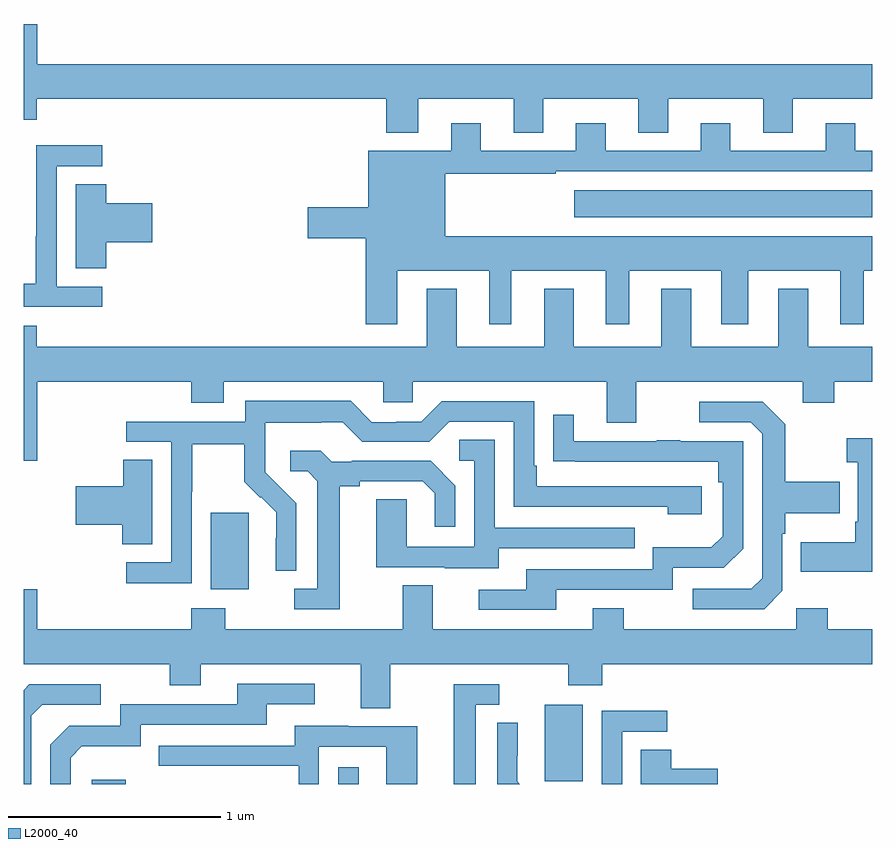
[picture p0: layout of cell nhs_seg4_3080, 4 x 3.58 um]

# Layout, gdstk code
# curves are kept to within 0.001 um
import gdstk
lib = gdstk.Library(unit=1e-6, precision=1e-09)
def R(c, l, rs):  # rectangles x0, y0, x1, y1
    for r in rs: c.add(gdstk.rectangle(r[:2], r[2:], *l))
def P(c, l, *ps):  # polygons
    for p in ps: c.add(gdstk.Polygon(p, *l))
L2000_40 = (2000, 40)

nhs_seg4_3080 = lib.new_cell('nhs_seg4_3080')
R(nhs_seg4_3080, L2000_40, [(273.321,818.9,273.482,818.92), (274.482,818.9,274.579,818.98), (275.456,818.913,275.635,819.274), (273.881,819.818,274.06,820.179), (275.595,821.57,277,821.698)])
P(nhs_seg4_3080, L2000_40, [(275.449,822.128),(275.897,822.128),(275.897,821.968),(276.037,821.968),(276.037,822.128),(276.485,822.128),(276.485,821.968),(276.625,821.968),(276.625,822.128),(277,822.128),(277,822.292),(273.064,822.292),(273.064,822.481),(273,822.481),(273,822.029),(273.062,822.029),(273.062,822.128),(274.709,822.128),(274.709,821.969),(274.861,821.969),(274.861,822.128),(275.309,822.128),(275.309,821.968),(275.449,821.968)],
  [(274.762,821.318),(275.195,821.318),(275.195,821.067),(275.299,821.067),(275.299,821.318),(275.744,821.318),(275.744,821.067),(275.854,821.067),(275.854,821.318),(276.287,821.318),(276.287,821.067),(276.415,821.067),(276.415,821.318),(276.848,821.318),(276.848,821.067),(276.958,821.067),(276.958,821.318),(277,821.318),(277,821.482),(274.987,821.482),(274.987,821.775),(275.507,821.775),(275.507,821.787),(277,821.787),(277,821.883),(276.919,821.883),(276.919,822.013),(276.779,822.013),(276.779,821.883),(276.331,821.883),(276.331,822.013),(276.191,822.013),(276.191,821.883),(275.743,821.883),(275.743,822.013),(275.603,822.013),(275.603,821.883),(275.155,821.883),(275.155,822.013),(275.015,822.013),(275.015,821.884),(274.625,821.884),(274.625,821.618),(274.338,821.618),(274.338,821.471),(274.613,821.471),(274.613,821.067),(274.762,821.067)],
  [(273.37,821.244),(273.156,821.244),(273.156,821.811),(273.37,821.811),(273.37,821.91),(273.06,821.91),(273.06,821.48),(273.058,821.48),(273.058,821.257),(273,821.257),(273,821.148),(273.37,821.148)],
  [(273.389,821.453),(273.607,821.453),(273.607,821.636),(273.389,821.636),(273.389,821.726),(273.245,821.726),(273.245,821.329),(273.389,821.329)],
  [(273.064,820.796),(273.791,820.796),(273.791,820.697),(273.943,820.697),(273.943,820.796),(274.695,820.796),(274.695,820.698),(274.833,820.698),(274.833,820.796),(275.747,820.796),(275.747,820.602),(275.887,820.602),(275.887,820.796),(276.671,820.796),(276.671,820.697),(276.819,820.697),(276.819,820.796),(277,820.796),(277,820.96),(276.697,820.96),(276.697,821.233),(276.557,821.233),(276.557,820.96),(276.145,820.96),(276.145,821.233),(276.005,821.233),(276.005,820.96),(275.593,820.96),(275.593,821.233),(275.453,821.233),(275.453,820.96),(275.041,820.96),(275.041,821.233),(274.901,821.233),(274.901,820.96),(273.062,820.96),(273.062,821.059),(273,821.059),(273,820.422),(273.064,820.422)],
  [(273.792,820.276),(273.795,820.276),(273.795,820.5),(274.039,820.5),(274.039,820.325),(274.116,820.248),(274.119,820.251),(274.19,820.181),(274.19,820.058),(274.188,820.058),(274.188,819.904),(274.284,819.904),(274.284,820.222),(274.138,820.37),(274.138,820.467),(274.14,820.467),(274.14,820.601),(274.403,820.601),(274.403,820.605),(274.503,820.605),(274.596,820.512),(274.911,820.512),(275.007,820.608),(275.31,820.608),(275.31,820.206),(276.035,820.206),(276.035,820.172),(276.196,820.172),(276.196,820.302),(275.419,820.302),(275.419,820.399),(275.406,820.399),(275.406,820.704),(274.971,820.704),(274.875,820.608),(274.757,820.608),(274.757,820.605),(274.641,820.605),(274.541,820.705),(274.044,820.705),(274.044,820.608),(273.483,820.608),(273.483,820.512),(273.696,820.512),(273.696,819.945),(273.483,819.945),(273.483,819.847),(273.792,819.847)],
  [(276.576,819.81),(276.576,820.079),(276.589,820.079),(276.589,820.175),(276.845,820.175),(276.845,820.323),(276.589,820.323),(276.589,820.595),(276.483,820.701),(276.183,820.701),(276.183,820.605),(276.426,820.605),(276.48,820.551),(276.48,819.87),(276.429,819.819),(276.153,819.819),(276.153,819.723),(276.489,819.723)],
  [(275.509,819.816),(276.06,819.816),(276.06,819.918),(276.3,819.918),(276.39,820.008),(276.39,820.515),(276.095,820.515),(276.095,820.52),(275.983,820.52),(275.983,820.515),(275.593,820.515),(275.593,820.639),(275.497,820.639),(275.497,820.42),(276.274,820.419),(276.274,820.322),(276.294,820.322),(276.294,820.068),(276.241,820.015),(275.964,820.015),(275.964,819.912),(275.369,819.912),(275.369,819.816),(275.145,819.816),(275.145,819.72),(275.509,819.72)],
  [(277,820.528),(276.879,820.528),(276.879,820.415),(276.93,820.415),(276.93,820.135),(276.918,820.135),(276.918,820.039),(276.661,820.039),(276.661,819.899),(277,819.899)],
  [(275.239,820.011),(275.879,820.011),(275.879,820.107),(275.22,820.107),(275.22,820.523),(275.052,820.523),(275.052,820.422),(275.124,820.422),(275.124,820.017),(274.806,820.017),(274.806,820.241),(274.661,820.241),(274.661,819.921),(274.985,819.921),(274.985,819.917),(275.239,819.917)],
  [(274.489,820.304),(274.585,820.304),(274.585,820.326),(274.88,820.326),(274.937,820.269),(274.937,820.113),(275.034,820.113),(275.034,820.306),(274.918,820.422),(274.546,820.422),(274.546,820.419),(274.452,820.419),(274.4,820.471),(274.257,820.471),(274.257,820.374),(274.338,820.374),(274.385,820.327),(274.385,819.819),(274.275,819.819),(274.275,819.723),(274.489,819.723)],
  [(273.607,820.427),(273.469,820.427),(273.469,820.304),(273.246,820.304),(273.246,820.121),(273.464,820.121),(273.464,820.03),(273.607,820.03)],
  [(274.729,819.464),(275.566,819.464),(275.566,819.365),(275.726,819.365),(275.726,819.464),(277,819.464),(277,819.628),(276.789,819.628),(276.789,819.727),(276.642,819.727),(276.642,819.628),(275.829,819.628),(275.829,819.727),(275.681,819.727),(275.681,819.628),(274.927,819.628),(274.927,819.836),(274.787,819.836),(274.787,819.628),(273.951,819.628),(273.951,819.727),(273.791,819.727),(273.791,819.628),(273.064,819.628),(273.064,819.817),(273,819.817),(273,819.464),(273.688,819.464),(273.688,819.365),(273.835,819.365),(273.835,819.464),(274.589,819.464),(274.589,819.256),(274.729,819.256)],
  [(273.222,819.024),(273.275,819.077),(273.552,819.077),(273.552,819.18),(274.147,819.18),(274.147,819.276),(274.372,819.276),(274.372,819.372),(274.007,819.372),(274.007,819.276),(273.456,819.276),(273.456,819.174),(273.216,819.174),(273.126,819.084),(273.126,818.9),(273.222,818.9)],
  [(275.131,819.273),(275.242,819.273),(275.242,819.369),(275.027,819.369),(275.027,818.9),(275.131,818.9)],
  [(273.036,819.222),(273.087,819.273),(273.364,819.273),(273.364,819.369),(273.027,819.369),(273,819.342),(273,818.9),(273.036,818.9)],
  [(275.82,819.147),(276.034,819.147),(276.034,819.246),(275.724,819.246),(275.724,818.9),(275.82,818.9)],
  [(275.327,818.912),(275.327,819.034),(275.328,819.034),(275.328,819.188),(275.232,819.188),(275.232,818.9),(275.339,818.9)],
  [(274.392,819.075),(274.71,819.075),(274.71,818.9),(274.855,818.9),(274.855,819.171),(274.531,819.171),(274.531,819.175),(274.277,819.175),(274.277,819.081),(273.637,819.081),(273.637,818.985),(274.296,818.985),(274.296,818.9),(274.392,818.9)],
  [(276.271,818.972),(276.053,818.972),(276.053,819.062),(275.909,819.062),(275.909,818.9),(276.271,818.9)])

lib.write_gds('nhs_seg4_3080.gds')
